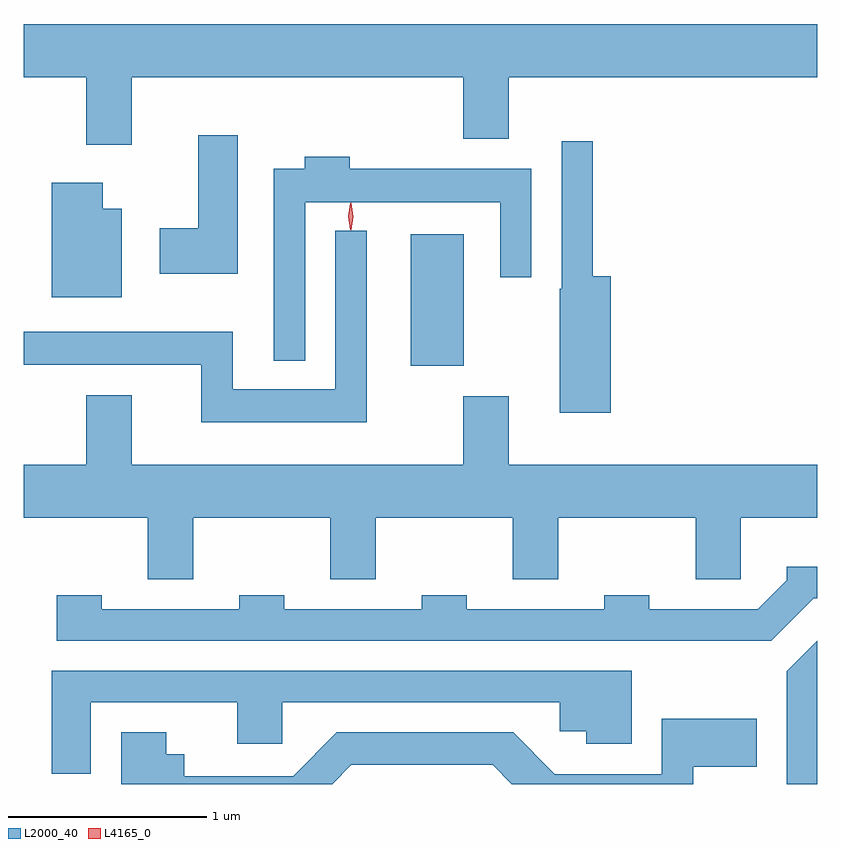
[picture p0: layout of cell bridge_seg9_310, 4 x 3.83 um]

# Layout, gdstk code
import gdstk
lib = gdstk.Library(unit=1e-6, precision=1e-09)
def R(c, l, rs):  # rectangles x0, y0, x1, y1
    for r in rs: c.add(gdstk.rectangle(r[:2], r[2:], *l))
def P(c, l, *ps):  # polygons
    for p in ps: c.add(gdstk.Polygon(p, *l))
L2000_40 = (2000, 40)
L4165_0 = (4165, 0)

bridge_seg9_310 = lib.new_cell('bridge_seg9_310')
R(bridge_seg9_310, L2000_40, [(1029.996,2070.281,1030.264,2070.944)])
P(bridge_seg9_310, L2000_40, [(1028.589,2071.736),(1030.261,2071.736),(1030.261,2071.426),(1030.489,2071.426),(1030.489,2071.736),(1032.045,2071.736),(1032.045,2072.004),(1028.045,2072.004),(1028.045,2071.736),(1028.361,2071.736),(1028.361,2071.396),(1028.589,2071.396)],
  [(1029.124,2071.444),(1028.926,2071.444),(1028.926,2070.974),(1028.731,2070.974),(1028.731,2070.746),(1029.124,2070.746)],
  [(1031.004,2070.734),(1030.914,2070.734),(1030.914,2071.413),(1030.756,2071.413),(1030.756,2070.67),(1030.746,2070.67),(1030.746,2070.046),(1031.004,2070.046)],
  [(1029.464,2071.106),(1030.446,2071.106),(1030.446,2070.728),(1030.604,2070.728),(1030.604,2071.274),(1029.689,2071.274),(1029.689,2071.334),(1029.461,2071.334),(1029.461,2071.274),(1029.306,2071.274),(1029.306,2070.308),(1029.464,2070.308)],
  [(1028.539,2071.074),(1028.444,2071.074),(1028.444,2071.204),(1028.186,2071.204),(1028.186,2070.626),(1028.539,2070.626)],
  [(1029.774,2070.963),(1029.616,2070.963),(1029.616,2070.164),(1029.099,2070.164),(1029.099,2070.454),(1028.045,2070.454),(1028.045,2070.286),(1028.941,2070.286),(1028.941,2069.996),(1029.774,2069.996)],
  [(1030.489,2070.129),(1030.261,2070.129),(1030.261,2069.784),(1028.589,2069.784),(1028.589,2070.134),(1028.361,2070.134),(1028.361,2069.784),(1028.045,2069.784),(1028.045,2069.516),(1028.671,2069.516),(1028.671,2069.206),(1028.899,2069.206),(1028.899,2069.516),(1029.591,2069.516),(1029.591,2069.206),(1029.819,2069.206),(1029.819,2069.516),(1030.511,2069.516),(1030.511,2069.206),(1030.739,2069.206),(1030.739,2069.516),(1031.431,2069.516),(1031.431,2069.206),(1031.659,2069.206),(1031.659,2069.516),(1032.045,2069.516),(1032.045,2069.784),(1030.489,2069.784)],
  [(1032.027,2069.111),(1032.045,2069.111),(1032.045,2069.269),(1031.891,2069.269),(1031.891,2069.202),(1031.744,2069.054),(1031.199,2069.054),(1031.199,2069.124),(1030.971,2069.124),(1030.971,2069.054),(1030.279,2069.054),(1030.279,2069.124),(1030.051,2069.124),(1030.051,2069.054),(1029.359,2069.054),(1029.359,2069.124),(1029.131,2069.124),(1029.131,2069.054),(1028.439,2069.054),(1028.439,2069.124),(1028.211,2069.124),(1028.211,2068.896),(1031.812,2068.896)],
  [(1032.045,2068.895),(1031.891,2068.742),(1031.891,2068.174),(1032.045,2068.174)],
  [(1028.384,2068.586),(1029.121,2068.586),(1029.121,2068.376),(1029.349,2068.376),(1029.349,2068.586),(1030.746,2068.586),(1030.746,2068.441),(1030.881,2068.441),(1030.881,2068.376),(1031.109,2068.376),(1031.109,2068.744),(1028.186,2068.744),(1028.186,2068.226),(1028.384,2068.226)],
  [(1029.697,2068.271),(1030.409,2068.271),(1030.506,2068.174),(1031.419,2068.174),(1031.419,2068.261),(1031.739,2068.261),(1031.739,2068.504),(1031.261,2068.504),(1031.261,2068.224),(1030.722,2068.224),(1030.512,2068.434),(1029.623,2068.434),(1029.404,2068.214),(1028.854,2068.214),(1028.854,2068.324),(1028.764,2068.324),(1028.764,2068.434),(1028.536,2068.434),(1028.536,2068.174),(1029.6,2068.174)])
P(bridge_seg9_310, L4165_0, [(1029.696,2070.964),(1029.696,2070.964),(1029.686,2071.033),(1029.696,2071.103),(1029.696,2071.103),(1029.697,2071.103),(1029.706,2071.033),(1029.697,2070.964)],
  [(1029.693,2070.967),(1029.692,2070.968),(1029.682,2071.034),(1029.692,2071.1),(1029.692,2071.1),(1029.693,2071.1),(1029.702,2071.034),(1029.693,2070.968)])

lib.write_gds('bridge_seg9_310.gds')
